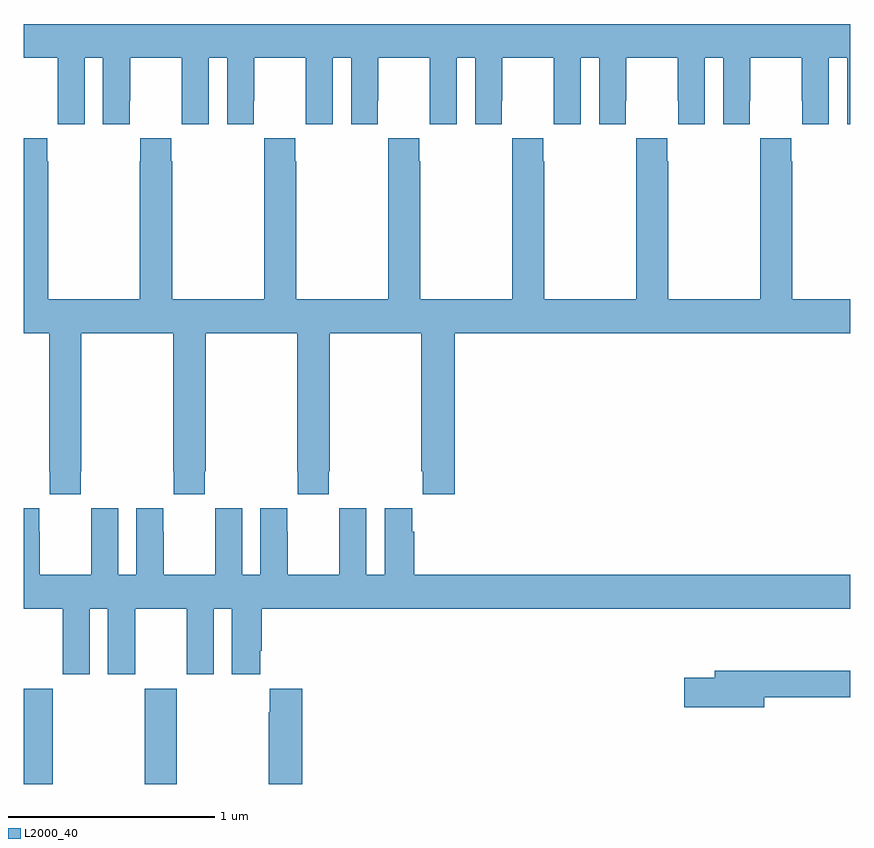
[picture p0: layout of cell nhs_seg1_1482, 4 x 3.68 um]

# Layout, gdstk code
import gdstk
lib = gdstk.Library(unit=1e-6, precision=1e-09)
def R(c, l, rs):  # rectangles x0, y0, x1, y1
    for r in rs: c.add(gdstk.rectangle(r[:2], r[2:], *l))
def P(c, l, *ps):  # polygons
    for p in ps: c.add(gdstk.Polygon(p, *l))
L2000_40 = (2000, 40)

nhs_seg1_1482 = lib.new_cell('nhs_seg1_1482')
R(nhs_seg1_1482, L2000_40, [(191,568.199,191.142,568.66), (191.587,568.199,191.742,568.66)])
P(nhs_seg1_1482, L2000_40, [(191.296,571.712),(191.384,571.712),(191.384,571.392),(191.514,571.392),(191.514,571.504),(191.515,571.504),(191.515,571.712),(191.765,571.712),(191.765,571.504),(191.766,571.504),(191.766,571.392),(191.896,571.392),(191.896,571.712),(191.984,571.712),(191.984,571.392),(192.114,571.392),(192.114,571.504),(192.115,571.504),(192.115,571.712),(192.365,571.712),(192.365,571.504),(192.366,571.504),(192.366,571.392),(192.496,571.392),(192.496,571.712),(192.584,571.712),(192.584,571.392),(192.714,571.392),(192.714,571.504),(192.715,571.504),(192.715,571.712),(192.965,571.712),(192.965,571.504),(192.966,571.504),(192.966,571.392),(193.096,571.392),(193.096,571.712),(193.184,571.712),(193.184,571.392),(193.314,571.392),(193.314,571.504),(193.315,571.504),(193.315,571.712),(193.565,571.712),(193.565,571.504),(193.566,571.504),(193.566,571.392),(193.696,571.392),(193.696,571.712),(193.784,571.712),(193.784,571.392),(193.914,571.392),(193.914,571.504),(193.915,571.504),(193.915,571.712),(194.165,571.712),(194.165,571.504),(194.166,571.504),(194.166,571.392),(194.296,571.392),(194.296,571.712),(194.384,571.712),(194.384,571.392),(194.514,571.392),(194.514,571.504),(194.515,571.504),(194.515,571.712),(194.765,571.712),(194.765,571.504),(194.766,571.504),(194.766,571.392),(194.896,571.392),(194.896,571.712),(194.984,571.712),(194.984,571.392),(195,571.392),(195,571.876),(191,571.876),(191,571.712),(191.165,571.712),(191.165,571.504),(191.166,571.504),(191.166,571.392),(191.296,571.392)],
  [(191.118,571.211),(191.115,571.211),(191.115,571.324),(191,571.324),(191,570.38),(191.125,570.38),(191.125,569.713),(191.127,569.713),(191.127,569.601),(191.277,569.601),(191.277,569.713),(191.28,569.713),(191.28,570.38),(191.725,570.38),(191.725,569.713),(191.727,569.713),(191.727,569.601),(191.877,569.601),(191.877,569.713),(191.88,569.713),(191.88,570.38),(192.325,570.38),(192.325,569.713),(192.327,569.713),(192.327,569.601),(192.477,569.601),(192.477,569.713),(192.48,569.713),(192.48,570.38),(192.925,570.38),(192.925,569.713),(192.931,569.713),(192.931,569.601),(193.085,569.601),(193.085,570.38),(195,570.38),(195,570.544),(194.718,570.544),(194.718,571.211),(194.715,571.211),(194.715,571.324),(194.565,571.324),(194.565,571.211),(194.563,571.211),(194.563,570.544),(194.118,570.544),(194.118,571.211),(194.115,571.211),(194.115,571.324),(193.965,571.324),(193.965,571.211),(193.963,571.211),(193.963,570.544),(193.518,570.544),(193.518,571.211),(193.515,571.211),(193.515,571.324),(193.365,571.324),(193.365,571.211),(193.363,571.211),(193.363,570.544),(192.918,570.544),(192.918,571.211),(192.915,571.211),(192.915,571.324),(192.765,571.324),(192.765,571.211),(192.763,571.211),(192.763,570.544),(192.318,570.544),(192.318,571.211),(192.315,571.211),(192.315,571.324),(192.165,571.324),(192.165,571.211),(192.163,571.211),(192.163,570.544),(191.718,570.544),(191.718,571.211),(191.715,571.211),(191.715,571.324),(191.565,571.324),(191.565,571.211),(191.563,571.211),(191.563,570.544),(191.118,570.544)],
  [(191.458,569.533),(191.328,569.533),(191.328,569.42),(191.327,569.42),(191.327,569.212),(191.077,569.212),(191.077,569.42),(191.076,569.42),(191.076,569.533),(191,569.533),(191,569.048),(191.189,569.048),(191.189,568.731),(191.32,568.731),(191.32,569.048),(191.408,569.048),(191.408,568.731),(191.539,568.731),(191.539,569.048),(191.789,569.048),(191.789,568.731),(191.92,568.731),(191.92,569.048),(192.008,569.048),(192.008,568.731),(192.145,568.731),(192.145,568.843),(192.152,568.843),(192.152,569.048),(195,569.048),(195,569.212),(192.89,569.212),(192.89,569.42),(192.88,569.42),(192.88,569.533),(192.746,569.533),(192.746,569.212),(192.658,569.212),(192.658,569.533),(192.528,569.533),(192.528,569.42),(192.527,569.42),(192.527,569.212),(192.277,569.212),(192.277,569.42),(192.276,569.42),(192.276,569.533),(192.146,569.533),(192.146,569.212),(192.058,569.212),(192.058,569.533),(191.928,569.533),(191.928,569.42),(191.927,569.42),(191.927,569.212),(191.677,569.212),(191.677,569.42),(191.676,569.42),(191.676,569.533),(191.546,569.533),(191.546,569.212),(191.458,569.212)],
  [(194.584,568.618),(195,568.618),(195,568.747),(194.345,568.747),(194.345,568.713),(194.196,568.713),(194.196,568.571),(194.584,568.571)],
  [(192.347,568.66),(192.191,568.66),(192.191,568.547),(192.187,568.547),(192.187,568.199),(192.347,568.199)])

lib.write_gds('nhs_seg1_1482.gds')
